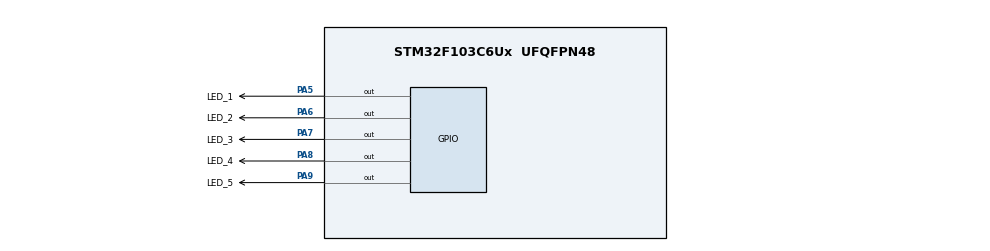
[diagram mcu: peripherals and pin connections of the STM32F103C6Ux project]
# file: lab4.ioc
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Mcu.Family=STM32F1
Mcu.Name=STM32F103C6Ux
Mcu.Package=UFQFPN48
NVIC.PriorityGroup=NVIC_PRIORITYGROUP_4
NVIC.TIM2_IRQn=true\:0\:0\:false\:false\:true\:true\:true
PA5.GPIO_Label=LED_1
PA5.Signal=GPIO_Output
PA6.GPIO_Label=LED_2
PA6.Signal=GPIO_Output
PA7.GPIO_Label=LED_3
PA7.Signal=GPIO_Output
PA8.GPIO_Label=LED_4
PA8.Signal=GPIO_Output
PA9.GPIO_Label=LED_5
PA9.Signal=GPIO_Output
ProjectManager.HeapSize=0x200
ProjectManager.StackSize=0x400
ProjectManager.TargetToolchain=STM32CubeIDE
RCC.APB1Freq_Value=8000000
RCC.APB2Freq_Value=8000000
TIM2.Period=9
TIM2.Prescaler=7999
VP_SYS_VS_ND.Mode=No_Debug
VP_TIM2_VS_ClockSourceINT.Mode=Internal
board=custom

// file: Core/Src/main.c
/* USER CODE BEGIN Header */
/**
  ******************************************************************************
  * @file           : main.c
  * @brief          : Main program body
  ******************************************************************************
  * @attention
  *
  * <h2><center>&copy; Copyright (c) 2022 STMicroelectronics.
  * All rights reserved.</center></h2>
  *
  * This software component is licensed by ST under BSD 3-Clause license,
  * the "License"; You may not use this file except in compliance with the
  * License. You may obtain a copy of the License at:
  *                        opensource.org/licenses/BSD-3-Clause
  *
  ******************************************************************************
  */
/* USER CODE END Header */
#include "main.h"

/* USER CODE BEGIN Includes */
#include "scheduler.h"
/* USER CODE END Includes */

TIM_HandleTypeDef htim2;

void SystemClock_Config(void);
static void MX_TIM2_Init(void);
static void MX_GPIO_Init(void);

/* USER CODE BEGIN 0 */
void Led_1_Test() {
	HAL_GPIO_TogglePin(LED_1_GPIO_Port, LED_1_Pin);
}
void Led_2_Test() {
	HAL_GPIO_TogglePin(LED_2_GPIO_Port, LED_2_Pin);
}
void Led_3_Test() {
	HAL_GPIO_TogglePin(LED_3_GPIO_Port, LED_3_Pin);
}
void Led_4_Test() {
	HAL_GPIO_TogglePin(LED_4_GPIO_Port, LED_4_Pin);
}
void Led_5_Test() {
	HAL_GPIO_TogglePin(LED_5_GPIO_Port, LED_5_Pin);
}
/* USER CODE END 0 */

int main(void)
{

  /* MCU Configuration--------------------------------------------------------*/

  /* Reset of all peripherals, Initializes the Flash interface and the Systick. */
  HAL_Init();

  /* Configure the system clock */
  SystemClock_Config();

  /* Initialize all configured peripherals */
  MX_TIM2_Init();
  MX_GPIO_Init();
  /* USER CODE BEGIN 2 */
  HAL_TIM_Base_Start_IT(&htim2);
  /* USER CODE END 2 */

  /* Infinite loop */
  /* USER CODE BEGIN WHILE */
  SCH_Init();
  SCH_Add_Task(Led_1_Test, 0, 50, 0);
  SCH_Add_Task(Led_2_Test, 100, 100, 0);
  SCH_Add_Task(Led_3_Test, 150, 150, 0);
  SCH_Add_Task(Led_4_Test, 200, 200, 0);
  SCH_Add_Task(Led_5_Test, 500, 250, 1);
  while (1)
  {
	  SCH_Dispatch_Tasks();
    /* USER CODE END WHILE */

  }
}

void SystemClock_Config(void)
{
  RCC_OscInitTypeDef RCC_OscInitStruct = {0};
  RCC_ClkInitTypeDef RCC_ClkInitStruct = {0};

  /** Initializes the RCC Oscillators according to the specified parameters
  * in the RCC_OscInitTypeDef structure.
  */
  RCC_OscInitStruct.OscillatorType = RCC_OSCILLATORTYPE_HSI;
  RCC_OscInitStruct.HSIState = RCC_HSI_ON;
  RCC_OscInitStruct.HSICalibrationValue = RCC_HSICALIBRATION_DEFAULT;
  RCC_OscInitStruct.PLL.PLLState = RCC_PLL_NONE;
  if (HAL_RCC_OscConfig(&RCC_OscInitStruct) != HAL_OK)
  {
    Error_Handler();
  }
  /** Initializes the CPU, AHB and APB buses clocks
  */
  RCC_ClkInitStruct.ClockType = RCC_CLOCKTYPE_HCLK|RCC_CLOCKTYPE_SYSCLK
                              |RCC_CLOCKTYPE_PCLK1|RCC_CLOCKTYPE_PCLK2;
  RCC_ClkInitStruct.SYSCLKSource = RCC_SYSCLKSOURCE_HSI;
  RCC_ClkInitStruct.AHBCLKDivider = RCC_SYSCLK_DIV1;
  RCC_ClkInitStruct.APB1CLKDivider = RCC_HCLK_DIV1;
  RCC_ClkInitStruct.APB2CLKDivider = RCC_HCLK_DIV1;

  if (HAL_RCC_ClockConfig(&RCC_ClkInitStruct, FLASH_LATENCY_0) != HAL_OK)
  {
    Error_Handler();
  }
}

static void MX_TIM2_Init(void)
{

  TIM_ClockConfigTypeDef sClockSourceConfig = {0};
  TIM_MasterConfigTypeDef sMasterConfig = {0};

  htim2.Instance = TIM2;
  htim2.Init.Prescaler = 7999;
  htim2.Init.CounterMode = TIM_COUNTERMODE_UP;
  htim2.Init.Period = 9;
  htim2.Init.ClockDivision = TIM_CLOCKDIVISION_DIV1;
  htim2.Init.AutoReloadPreload = TIM_AUTORELOAD_PRELOAD_DISABLE;
  if (HAL_TIM_Base_Init(&htim2) != HAL_OK)
  {
    Error_Handler();
  }
  sClockSourceConfig.ClockSource = TIM_CLOCKSOURCE_INTERNAL;
  if (HAL_TIM_ConfigClockSource(&htim2, &sClockSourceConfig) != HAL_OK)
  {
    Error_Handler();
  }
  sMasterConfig.MasterOutputTrigger = TIM_TRGO_RESET;
  sMasterConfig.MasterSlaveMode = TIM_MASTERSLAVEMODE_DISABLE;
  if (HAL_TIMEx_MasterConfigSynchronization(&htim2, &sMasterConfig) != HAL_OK)
  {
    Error_Handler();
  }

}

static void MX_GPIO_Init(void)
{
  GPIO_InitTypeDef GPIO_InitStruct = {0};

  /* GPIO Ports Clock Enable */
  __HAL_RCC_GPIOA_CLK_ENABLE();

  /*Configure GPIO pin Output Level */
  HAL_GPIO_WritePin(GPIOA, LED_1_Pin|LED_2_Pin|LED_3_Pin|LED_4_Pin
                          |LED_5_Pin, GPIO_PIN_RESET);

  /*Configure GPIO pins : LED_1_Pin LED_2_Pin LED_3_Pin LED_4_Pin
                           LED_5_Pin */
  GPIO_InitStruct.Pin = LED_1_Pin|LED_2_Pin|LED_3_Pin|LED_4_Pin
                          |LED_5_Pin;
  GPIO_InitStruct.Mode = GPIO_MODE_OUTPUT_PP;
  GPIO_InitStruct.Pull = GPIO_NOPULL;
  GPIO_InitStruct.Speed = GPIO_SPEED_FREQ_LOW;
  HAL_GPIO_Init(GPIOA, &GPIO_InitStruct);

}

/* USER CODE BEGIN 4 */
void HAL_TIM_PeriodElapsedCallback(TIM_HandleTypeDef *htim) {
	SCH_Update();
}
/* USER CODE END 4 */

void Error_Handler(void)
{
  __disable_irq();
  while (1)
  {
  }
}

/************************ (C) COPYRIGHT STMicroelectronics *****END OF FILE****/
